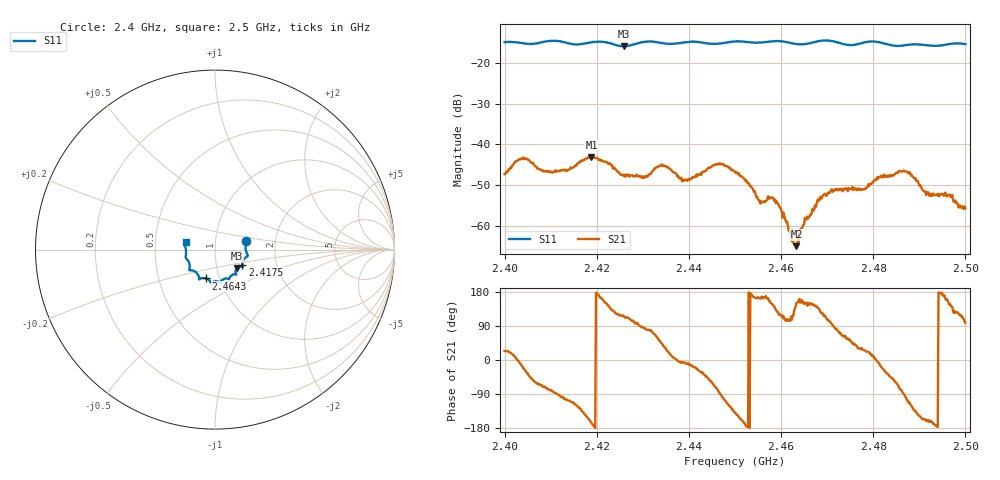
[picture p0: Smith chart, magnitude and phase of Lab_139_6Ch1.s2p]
# Hz S RI R 50
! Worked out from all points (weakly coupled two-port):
!   601 points, 2.4 GHz to 2.5 GHz, reference 50 ohm
!   highest |S21| = -43.08 dB at 2.4188 GHz (marker M1); lowest = -64.9 dB at 2.4633 GHz (marker M2)
!   lowest |S11| = -15.9 dB at 2.4258 GHz (marker M3), VSWR 1.38, Z = 62.3 - j13.2 ohm
!   |S11| at or under -10 dB: start of sweep to end of sweep
!   S12 and S22 are empty: the file has one direction only
!   S11 on the Smith chart (normalised r, x): 2.4 GHz: 1.41, +0.14; 2.4175 GHz: 1.33, -0.23; 2.4643 GHz: 0.86, -0.29; 2.5 GHz: 0.72, +0.06
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2.4e9  0.1727 0.0487  0.00396 0.00174  0 0  0 0
2.4035e9  0.173 0.0302  0.00656 -0.00129  0 0  0 0
2.41e9  0.1831 -0.0329  0.00079 -0.00451  0 0  0 0
2.416667e9  0.1528 -0.0743  -0.00429 -0.00454  0 0  0 0
2.4175e9  0.1517 -0.0837  -0.00533 -0.00379  0 0  0 0
2.418833e9  0.1525 -0.0941  -0.0068 -0.0017  0 0  0 0
2.425833e9  0.1218 -0.1032  -0.00173 0.00372  0 0  0 0
2.4305e9  0.1184 -0.1374  0.000472 0.00406  0 0  0 0
2.433333e9  0.1131 -0.1373  0.00299 0.00436  0 0  0 0
2.439e9  0.0802 -0.1595  0.00358 -0.000373  0 0  0 0
2.446333e9  0.0452 -0.1658  0.000855 -0.00558  0 0  0 0
2.45e9  0.0291 -0.181  -0.00343 -0.00308  0 0  0 0
2.4555e9  -0.0023 -0.1772  -0.00179 0.000589  0 0  0 0
2.458667e9  -0.0212 -0.1834  -0.00156 0.00142  0 0  0 0
2.463333e9  -0.0392 -0.1653  -0.000493 0.000278  0 0  0 0
2.464333e9  -0.0497 -0.1609  -0.000842 0.000382  0 0  0 0
2.466667e9  -0.0758 -0.1593  -0.00126 0.00076  0 0  0 0
2.470667e9  -0.0879 -0.1647  -0.000489 0.0026  0 0  0 0
2.483333e9  -0.1411 -0.0899  0.00317 -0.00258  0 0  0 0
2.4875e9  -0.1577 -0.0528  -0.00137 -0.00424  0 0  0 0
2.491167e9  -0.1622 -0.0329  -0.00246 -0.00106  0 0  0 0
2.5e9  -0.1639 0.0428  -0.000248 0.00165  0 0  0 0
